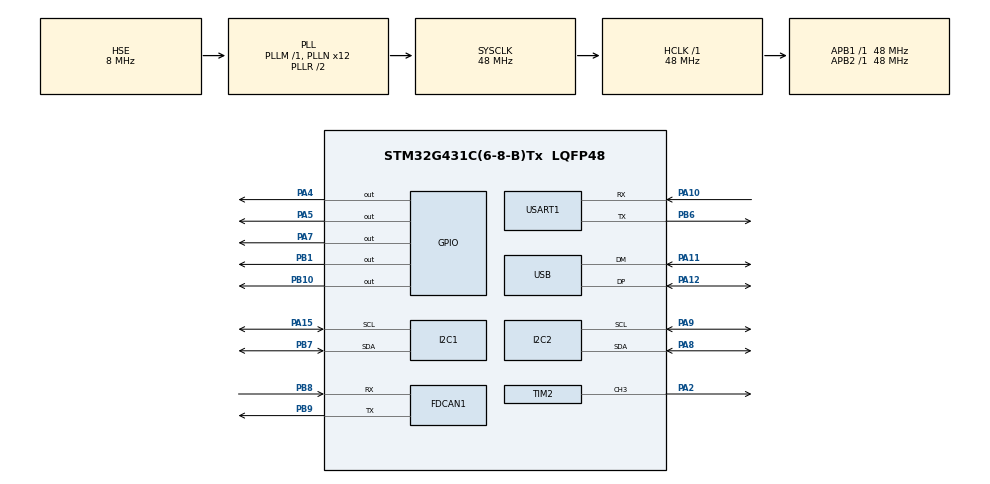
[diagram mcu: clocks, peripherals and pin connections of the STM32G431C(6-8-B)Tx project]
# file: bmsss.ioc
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FDCAN1.CalculateBaudRateNominal=166666
FDCAN1.CalculateTimeBitNominal=6000
FDCAN1.CalculateTimeQuantumNominal=2000.0
I2C1.Timing=0x10805D88
I2C2.Timing=0x10805D88
Mcu.Family=STM32G4
Mcu.Name=STM32G431C(6-8-B)Tx
Mcu.Package=LQFP48
NVIC.PriorityGroup=NVIC_PRIORITYGROUP_4
PA10.Mode=Asynchronous
PA10.Signal=USART1_RX
PA11.Mode=Device
PA11.Signal=USB_DM
PA12.Mode=Device
PA12.Signal=USB_DP
PA13.Mode=Serial_Wire
PA13.Signal=SYS_JTMS-SWDIO
PA14.Mode=Serial_Wire
PA14.Signal=SYS_JTCK-SWCLK
PA15.Mode=I2C
PA15.Signal=I2C1_SCL
PA2.Signal=S_TIM2_CH3
PA4.Signal=GPIO_Output
PA5.Signal=GPIO_Output
PA7.Signal=GPIO_Output
PA8.Mode=I2C
PA8.Signal=I2C2_SDA
PA9.Mode=I2C
PA9.Signal=I2C2_SCL
PB1.Signal=GPIO_Output
PB10.Signal=GPIO_Output
PB6.Mode=Asynchronous
PB6.Signal=USART1_TX
PB7.Mode=I2C
PB7.Signal=I2C1_SDA
PB8-BOOT0.Mode=FDCAN_Activate
PB8-BOOT0.Signal=FDCAN1_RX
PB9.Mode=FDCAN_Activate
PB9.Signal=FDCAN1_TX
PF0-OSC_IN.Mode=HSE-External-Oscillator
PF0-OSC_IN.Signal=RCC_OSC_IN
PF1-OSC_OUT.Mode=HSE-External-Oscillator
PF1-OSC_OUT.Signal=RCC_OSC_OUT
ProjectManager.HeapSize=0x200
ProjectManager.StackSize=0x400
ProjectManager.TargetToolchain=STM32CubeIDE
RCC.ADC12Freq_Value=48000000
RCC.AHBFreq_Value=48000000
RCC.APB1Freq_Value=48000000
RCC.APB1TimFreq_Value=48000000
RCC.APB2Freq_Value=48000000
RCC.APB2TimFreq_Value=48000000
RCC.CortexFreq_Value=48000000
RCC.EXTERNAL_CLOCK_VALUE=12288000
RCC.FDCANCLockSelection=RCC_FDCANCLKSOURCE_HSE
RCC.HCLKFreq_Value=48000000
RCC.HSE_VALUE=8000000
RCC.HSI48_VALUE=48000000
RCC.HSI_VALUE=16000000
RCC.I2C1CLockSelection=RCC_I2C1CLKSOURCE_SYSCLK
RCC.I2C2CLockSelection=RCC_I2C2CLKSOURCE_SYSCLK
RCC.LSE_VALUE=32768
RCC.PLLN=12
RCC.PLLSourceVirtual=RCC_PLLSOURCE_HSE
RCC.SYSCLKFreq_VALUE=48000000
RCC.SYSCLKSource=RCC_SYSCLKSOURCE_PLLCLK
RCC.USBFreq_Value=48000000
RCC.VCOOutputFreq_Value=96000000
SH.S_TIM2_CH3.0=TIM2_CH3,PWM Generation3 CH3
TIM2.Channel-PWM\ Generation3\ CH3=TIM_CHANNEL_3
USART1.VirtualMode-Asynchronous=VM_ASYNC
VP_SYS_VS_DBSignals.Mode=DisableDeadBatterySignals
VP_TIM2_VS_ClockSourceINT.Mode=Internal
board=custom

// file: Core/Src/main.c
/* USER CODE BEGIN Header */
/**
  ******************************************************************************
  * @file           : main.c
  * @brief          : Main program body
  ******************************************************************************
  * @attention
  *
  * Copyright (c) 2026 STMicroelectronics.
  * All rights reserved.
  *
  * This software is licensed under terms that can be found in the LICENSE file
  * in the root directory of this software component.
  * If no LICENSE file comes with this software, it is provided AS-IS.
  *
  ******************************************************************************
  */
/* USER CODE END Header */
#include "main.h"

/* USER CODE BEGIN Includes */
#include <stdio.h>
#include <stdbool.h>
#include <string.h>
/* USER CODE END Includes */

/* USER CODE BEGIN PD */

// BQ76952 I2C Adresi (Varsayılan 0x10, STM32 için sola kaydırılır -> 0x20)
#define BQ_I2C_ADDR  0x20

// BQ76952 Direct Command (Doğrudan Okuma) Adresleri
#define BQ_VCELL1    0x14  // Hücre 1 Başlangıç
#define BQ_CURRENT   0x3A  // CC2 Akım Değeri
#define BQ_TEMP_TS1  0x70  // NTC 1
#define BQ_TEMP_TS2  0x72  // NTC 2
#define BQ_TEMP_TS3  0x74  // NTC 3

// Güç / SOC Sabitleri
#define MAX_POWER   1108.8f
#define MIN_POWER    712.8f
#define FLASH_USER_START_ADDR   0x0801F800

/* USER CODE END PD */

FDCAN_HandleTypeDef hfdcan1;

I2C_HandleTypeDef hi2c1;
I2C_HandleTypeDef hi2c2;

TIM_HandleTypeDef htim2;

UART_HandleTypeDef huart1;

PCD_HandleTypeDef hpcd_USB_FS;

/* USER CODE BEGIN PV */

uint32_t counter;
const uint32_t ARALIK  = 99;
const uint32_t KARALIK = 30;

uint8_t percent = 0, percentholder = 0, bmshata = 0;
uint8_t AKSdata[2] = {0xFF, 0x00};

float temp1, temp2, temp3, akim = 0.0f, cellV[17] = {0}, batvolt = 0.0f;
float maxtemp = 0.0f, power = 0.0f, batlevel = 0.0f, minCV = 5.0f, maxCV = 0.0f;
float akimT = 0.0f, tempT = 0.0f, secwh = 0.0f;
float powerholder = 0.0f;

bool charging = false, ms500 = false, chold = false;
bool UVerror = false, OVerror = false, startup = true;
bool problem = false, danger = false, currerror = false, temperror = false;

int bal = 0, c = 0, k = 0, dc = 0, m = 0, f = 0, q = 0, msx = 0, dead = 0, probz = 0, mss = 0;
uint16_t CANakim = 0, CANtemp = 0, CANvolt = 0, CANminCV = 0, CANmaxCV = 0;

extern FDCAN_HandleTypeDef hfdcan1;
extern I2C_HandleTypeDef hi2c1;
extern TIM_HandleTypeDef htim2;
extern UART_HandleTypeDef huart1;

/* USER CODE END PV */

void SystemClock_Config(void);
static void MX_GPIO_Init(void);
static void MX_FDCAN1_Init(void);
static void MX_USB_PCD_Init(void);
static void MX_I2C1_Init(void);
static void MX_I2C2_Init(void);
static void MX_TIM2_Init(void);
static void MX_USART1_UART_Init(void);
/* USER CODE BEGIN PFP */

void AnalogWrite_Fan(uint8_t duty);
void Save_Power_To_Flash(float power_val);
float Read_Power_From_Flash(void);

void readV(void);
void readC(void);
void readtemp(void);
void calcminmax(void);
void calctotalV(void);
void calcpower(void);
void tempcontrol(void);
void checkprob(void);
void chargecheck(void);
void CANparse(void);
void CANvoltsend(void);
void CANdatasend(void);
void CANdatatake(void);

/* USER CODE END PFP */

/* USER CODE BEGIN 0 */

int _write(int file, char *ptr, int len) {
    HAL_UART_Transmit(&huart1, (uint8_t*)ptr, len, HAL_MAX_DELAY);
    return len;
}

void AnalogWrite_Fan(uint8_t duty) {
    if (duty > 100) HAL_GPIO_WritePin(GPIOB, GPIO_PIN_10, GPIO_PIN_SET);
    else            HAL_GPIO_WritePin(GPIOB, GPIO_PIN_10, GPIO_PIN_RESET);
}

void Save_Power_To_Flash(float power_val) {
    HAL_FLASH_Unlock();
    FLASH_EraseInitTypeDef EraseInitStruct;
    uint32_t PageError;
    EraseInitStruct.TypeErase   = FLASH_TYPEERASE_PAGES;
    EraseInitStruct.Banks       = FLASH_BANK_1;
    EraseInitStruct.Page        = 63;
    EraseInitStruct.NbPages     = 1;

    if (HAL_FLASHEx_Erase(&EraseInitStruct, &PageError) == HAL_OK) {
        uint64_t data_to_write = 0;
        memcpy(&data_to_write, &power_val, sizeof(float));
        HAL_FLASH_Program(FLASH_TYPEPROGRAM_DOUBLEWORD, FLASH_USER_START_ADDR, data_to_write);
    }
    HAL_FLASH_Lock();
}

float Read_Power_From_Flash(void) {
    float read_val = 0.0f;
    uint32_t flash_word = *(__IO uint32_t*)FLASH_USER_START_ADDR;
    if (flash_word != 0xFFFFFFFF) memcpy(&read_val, &flash_word, sizeof(float));
    return read_val;
}

/* USER CODE END 0 */

int main(void)
{

  /* MCU Configuration--------------------------------------------------------*/

  /* Reset of all peripherals, Initializes the Flash interface and the Systick. */
  HAL_Init();

  /* Configure the system clock */
  SystemClock_Config();

  /* Initialize all configured peripherals */
  MX_GPIO_Init();
  MX_FDCAN1_Init();
  MX_USB_PCD_Init();
  MX_I2C1_Init();
  MX_I2C2_Init();
  MX_TIM2_Init();
  MX_USART1_UART_Init();
  /* USER CODE BEGIN 2 */

  // Kontaktör Başlangıç Durumları
      HAL_GPIO_WritePin(GPIOB, GPIO_PIN_2, GPIO_PIN_SET); // PB2 Şarj
      HAL_GPIO_WritePin(GPIOB, GPIO_PIN_1, GPIO_PIN_SET); // PB1 Deşarj

      printf("-------------------- PEHLIVAN TEAM --------------------\r\n");
      printf("-------- BQ76952 Batarya Yonetim Sistemi Aktif --------\r\n");

      powerholder = Read_Power_From_Flash();
      if ((powerholder < MAX_POWER) && (powerholder > MIN_POWER)) {
          batlevel = powerholder;
      } else {
          batlevel = 1008.1f;
      }

      // FDCAN BAŞLATMA
      FDCAN_FilterTypeDef sFilterConfig;
      sFilterConfig.IdType = FDCAN_STANDARD_ID;
      sFilterConfig.FilterIndex = 0;
      sFilterConfig.FilterType = FDCAN_FILTER_MASK;
      sFilterConfig.FilterConfig = FDCAN_FILTER_TO_RXFIFO0;
      sFilterConfig.FilterID1 = 0x000;
      sFilterConfig.FilterID2 = 0x000;
      HAL_FDCAN_ConfigFilter(&hfdcan1, &sFilterConfig);
      HAL_FDCAN_Start(&hfdcan1);

      counter = HAL_GetTick();

  /* USER CODE END 2 */

  /* Infinite loop */
  /* USER CODE BEGIN WHILE */
      while (1)
            {
                uint32_t currentMillis = HAL_GetTick();
                if (currentMillis - counter >= ARALIK) {
                    c++;
                    if (c > 4) { c = 0; ms500 = true; }
                }

                if (c - k > 0) {
                    readtemp(); readC(); checkprob(); tempcontrol();
                    CANvoltsend(); CANdatasend();
                    k = c; counter = HAL_GetTick();
                }

                if (ms500) {
                    chargecheck();
                    readV();
                    counter = counter - KARALIK;
                    calcminmax(); calctotalV(); readtemp(); readC();
                    checkprob(); tempcontrol(); calcpower();

                    akimT += akim; tempT += maxtemp;
                    ms500 = false; k = 0; dc++; counter = HAL_GetTick();
                }

                if (dc >= 2) {
                    CANparse(); CANdatasend();
                    dc = 0; akimT = 0.0f; tempT = 0.0f;
                    if (AKSdata[0] == 0xF0) { bal++; chold = charging; }
                }

                CANdatatake();
                checkprob();
    /* USER CODE END WHILE */

  }
}

void SystemClock_Config(void)
{
  RCC_OscInitTypeDef RCC_OscInitStruct = {0};
  RCC_ClkInitTypeDef RCC_ClkInitStruct = {0};

  /** Configure the main internal regulator output voltage
  */
  HAL_PWREx_ControlVoltageScaling(PWR_REGULATOR_VOLTAGE_SCALE1);

  /** Initializes the RCC Oscillators according to the specified parameters
  * in the RCC_OscInitTypeDef structure.
  */
  RCC_OscInitStruct.OscillatorType = RCC_OSCILLATORTYPE_HSE;
  RCC_OscInitStruct.HSEState = RCC_HSE_ON;
  RCC_OscInitStruct.PLL.PLLState = RCC_PLL_ON;
  RCC_OscInitStruct.PLL.PLLSource = RCC_PLLSOURCE_HSE;
  RCC_OscInitStruct.PLL.PLLM = RCC_PLLM_DIV1;
  RCC_OscInitStruct.PLL.PLLN = 12;
  RCC_OscInitStruct.PLL.PLLP = RCC_PLLP_DIV2;
  RCC_OscInitStruct.PLL.PLLQ = RCC_PLLQ_DIV2;
  RCC_OscInitStruct.PLL.PLLR = RCC_PLLR_DIV2;
  if (HAL_RCC_OscConfig(&RCC_OscInitStruct) != HAL_OK)
  {
    Error_Handler();
  }

  /** Initializes the CPU, AHB and APB buses clocks
  */
  RCC_ClkInitStruct.ClockType = RCC_CLOCKTYPE_HCLK|RCC_CLOCKTYPE_SYSCLK
                              |RCC_CLOCKTYPE_PCLK1|RCC_CLOCKTYPE_PCLK2;
  RCC_ClkInitStruct.SYSCLKSource = RCC_SYSCLKSOURCE_PLLCLK;
  RCC_ClkInitStruct.AHBCLKDivider = RCC_SYSCLK_DIV1;
  RCC_ClkInitStruct.APB1CLKDivider = RCC_HCLK_DIV1;
  RCC_ClkInitStruct.APB2CLKDivider = RCC_HCLK_DIV1;

  if (HAL_RCC_ClockConfig(&RCC_ClkInitStruct, FLASH_LATENCY_1) != HAL_OK)
  {
    Error_Handler();
  }
}

static void MX_FDCAN1_Init(void)
{

  hfdcan1.Instance = FDCAN1;
  hfdcan1.Init.ClockDivider = FDCAN_CLOCK_DIV1;
  hfdcan1.Init.FrameFormat = FDCAN_FRAME_CLASSIC;
  hfdcan1.Init.Mode = FDCAN_MODE_NORMAL;
  hfdcan1.Init.AutoRetransmission = DISABLE;
  hfdcan1.Init.TransmitPause = DISABLE;
  hfdcan1.Init.ProtocolException = DISABLE;
  hfdcan1.Init.NominalPrescaler = 16;
  hfdcan1.Init.NominalSyncJumpWidth = 1;
  hfdcan1.Init.NominalTimeSeg1 = 1;
  hfdcan1.Init.NominalTimeSeg2 = 1;
  hfdcan1.Init.DataPrescaler = 1;
  hfdcan1.Init.DataSyncJumpWidth = 1;
  hfdcan1.Init.DataTimeSeg1 = 1;
  hfdcan1.Init.DataTimeSeg2 = 1;
  hfdcan1.Init.StdFiltersNbr = 0;
  hfdcan1.Init.ExtFiltersNbr = 0;
  hfdcan1.Init.TxFifoQueueMode = FDCAN_TX_FIFO_OPERATION;
  if (HAL_FDCAN_Init(&hfdcan1) != HAL_OK)
  {
    Error_Handler();
  }

}

static void MX_I2C1_Init(void)
{

  hi2c1.Instance = I2C1;
  hi2c1.Init.Timing = 0x10805D88;
  hi2c1.Init.OwnAddress1 = 0;
  hi2c1.Init.AddressingMode = I2C_ADDRESSINGMODE_7BIT;
  hi2c1.Init.DualAddressMode = I2C_DUALADDRESS_DISABLE;
  hi2c1.Init.OwnAddress2 = 0;
  hi2c1.Init.OwnAddress2Masks = I2C_OA2_NOMASK;
  hi2c1.Init.GeneralCallMode = I2C_GENERALCALL_DISABLE;
  hi2c1.Init.NoStretchMode = I2C_NOSTRETCH_DISABLE;
  if (HAL_I2C_Init(&hi2c1) != HAL_OK)
  {
    Error_Handler();
  }

  /** Configure Analogue filter
  */
  if (HAL_I2CEx_ConfigAnalogFilter(&hi2c1, I2C_ANALOGFILTER_ENABLE) != HAL_OK)
  {
    Error_Handler();
  }

  /** Configure Digital filter
  */
  if (HAL_I2CEx_ConfigDigitalFilter(&hi2c1, 0) != HAL_OK)
  {
    Error_Handler();
  }

}

static void MX_I2C2_Init(void)
{

  hi2c2.Instance = I2C2;
  hi2c2.Init.Timing = 0x10805D88;
  hi2c2.Init.OwnAddress1 = 0;
  hi2c2.Init.AddressingMode = I2C_ADDRESSINGMODE_7BIT;
  hi2c2.Init.DualAddressMode = I2C_DUALADDRESS_DISABLE;
  hi2c2.Init.OwnAddress2 = 0;
  hi2c2.Init.OwnAddress2Masks = I2C_OA2_NOMASK;
  hi2c2.Init.GeneralCallMode = I2C_GENERALCALL_DISABLE;
  hi2c2.Init.NoStretchMode = I2C_NOSTRETCH_DISABLE;
  if (HAL_I2C_Init(&hi2c2) != HAL_OK)
  {
    Error_Handler();
  }

  /** Configure Analogue filter
  */
  if (HAL_I2CEx_ConfigAnalogFilter(&hi2c2, I2C_ANALOGFILTER_ENABLE) != HAL_OK)
  {
    Error_Handler();
  }

  /** Configure Digital filter
  */
  if (HAL_I2CEx_ConfigDigitalFilter(&hi2c2, 0) != HAL_OK)
  {
    Error_Handler();
  }

}

static void MX_TIM2_Init(void)
{

  TIM_ClockConfigTypeDef sClockSourceConfig = {0};
  TIM_MasterConfigTypeDef sMasterConfig = {0};
  TIM_OC_InitTypeDef sConfigOC = {0};

  htim2.Instance = TIM2;
  htim2.Init.Prescaler = 0;
  htim2.Init.CounterMode = TIM_COUNTERMODE_UP;
  htim2.Init.Period = 4294967295;
  htim2.Init.ClockDivision = TIM_CLOCKDIVISION_DIV1;
  htim2.Init.AutoReloadPreload = TIM_AUTORELOAD_PRELOAD_DISABLE;
  if (HAL_TIM_Base_Init(&htim2) != HAL_OK)
  {
    Error_Handler();
  }
  sClockSourceConfig.ClockSource = TIM_CLOCKSOURCE_INTERNAL;
  if (HAL_TIM_ConfigClockSource(&htim2, &sClockSourceConfig) != HAL_OK)
  {
    Error_Handler();
  }
  if (HAL_TIM_PWM_Init(&htim2) != HAL_OK)
  {
    Error_Handler();
  }
  sMasterConfig.MasterOutputTrigger = TIM_TRGO_RESET;
  sMasterConfig.MasterSlaveMode = TIM_MASTERSLAVEMODE_DISABLE;
  if (HAL_TIMEx_MasterConfigSynchronization(&htim2, &sMasterConfig) != HAL_OK)
  {
    Error_Handler();
  }
  sConfigOC.OCMode = TIM_OCMODE_PWM1;
  sConfigOC.Pulse = 0;
  sConfigOC.OCPolarity = TIM_OCPOLARITY_HIGH;
  sConfigOC.OCFastMode = TIM_OCFAST_DISABLE;
  if (HAL_TIM_PWM_ConfigChannel(&htim2, &sConfigOC, TIM_CHANNEL_3) != HAL_OK)
  {
    Error_Handler();
  }
  HAL_TIM_MspPostInit(&htim2);

}

static void MX_USART1_UART_Init(void)
{

  huart1.Instance = USART1;
  huart1.Init.BaudRate = 115200;
  huart1.Init.WordLength = UART_WORDLENGTH_8B;
  huart1.Init.StopBits = UART_STOPBITS_1;
  huart1.Init.Parity = UART_PARITY_NONE;
  huart1.Init.Mode = UART_MODE_TX_RX;
  huart1.Init.HwFlowCtl = UART_HWCONTROL_NONE;
  huart1.Init.OverSampling = UART_OVERSAMPLING_16;
  huart1.Init.OneBitSampling = UART_ONE_BIT_SAMPLE_DISABLE;
  huart1.Init.ClockPrescaler = UART_PRESCALER_DIV1;
  huart1.AdvancedInit.AdvFeatureInit = UART_ADVFEATURE_NO_INIT;
  if (HAL_UART_Init(&huart1) != HAL_OK)
  {
    Error_Handler();
  }
  if (HAL_UARTEx_SetTxFifoThreshold(&huart1, UART_TXFIFO_THRESHOLD_1_8) != HAL_OK)
  {
    Error_Handler();
  }
  if (HAL_UARTEx_SetRxFifoThreshold(&huart1, UART_RXFIFO_THRESHOLD_1_8) != HAL_OK)
  {
    Error_Handler();
  }
  if (HAL_UARTEx_DisableFifoMode(&huart1) != HAL_OK)
  {
    Error_Handler();
  }

}

static void MX_USB_PCD_Init(void)
{

  hpcd_USB_FS.Instance = USB;
  hpcd_USB_FS.Init.dev_endpoints = 8;
  hpcd_USB_FS.Init.speed = PCD_SPEED_FULL;
  hpcd_USB_FS.Init.phy_itface = PCD_PHY_EMBEDDED;
  hpcd_USB_FS.Init.Sof_enable = DISABLE;
  hpcd_USB_FS.Init.low_power_enable = DISABLE;
  hpcd_USB_FS.Init.lpm_enable = DISABLE;
  hpcd_USB_FS.Init.battery_charging_enable = DISABLE;
  if (HAL_PCD_Init(&hpcd_USB_FS) != HAL_OK)
  {
    Error_Handler();
  }

}

static void MX_GPIO_Init(void)
{
  GPIO_InitTypeDef GPIO_InitStruct = {0};

  /* GPIO Ports Clock Enable */
  __HAL_RCC_GPIOF_CLK_ENABLE();
  __HAL_RCC_GPIOA_CLK_ENABLE();
  __HAL_RCC_GPIOB_CLK_ENABLE();

  /*Configure GPIO pin Output Level */
  HAL_GPIO_WritePin(GPIOA, GPIO_PIN_4|GPIO_PIN_5|GPIO_PIN_7, GPIO_PIN_RESET);

  /*Configure GPIO pin Output Level */
  HAL_GPIO_WritePin(GPIOB, GPIO_PIN_1|GPIO_PIN_10, GPIO_PIN_RESET);

  /*Configure GPIO pins : PA4 PA5 PA7 */
  GPIO_InitStruct.Pin = GPIO_PIN_4|GPIO_PIN_5|GPIO_PIN_7;
  GPIO_InitStruct.Mode = GPIO_MODE_OUTPUT_PP;
  GPIO_InitStruct.Pull = GPIO_NOPULL;
  GPIO_InitStruct.Speed = GPIO_SPEED_FREQ_LOW;
  HAL_GPIO_Init(GPIOA, &GPIO_InitStruct);

  /*Configure GPIO pins : PB1 PB10 */
  GPIO_InitStruct.Pin = GPIO_PIN_1|GPIO_PIN_10;
  GPIO_InitStruct.Mode = GPIO_MODE_OUTPUT_PP;
  GPIO_InitStruct.Pull = GPIO_NOPULL;
  GPIO_InitStruct.Speed = GPIO_SPEED_FREQ_LOW;
  HAL_GPIO_Init(GPIOB, &GPIO_InitStruct);

}

/* USER CODE BEGIN 4 */

void readV(void) {
    uint8_t rxBuf[32]; // 16 Hücre x 2 Byte = 32 Byte Veri
    // BQ76952, hücre voltajlarını 0x14'ten 0x33'e kadar hazır tutar (mV cinsinden)
    if (HAL_I2C_Mem_Read(&hi2c1, BQ_I2C_ADDR, BQ_VCELL1, I2C_MEMADD_SIZE_8BIT, rxBuf, 32, 100) == HAL_OK) {
        for(int i = 0; i < 16; i++) {
            uint16_t rawV = rxBuf[i*2] | (rxBuf[(i*2)+1] << 8); // Little-Endian formatını birleştir
            cellV[i+1] = rawV / 1000.0f; // mV değerini Volt'a çevir
        }
    }
}

void readC(void) {
    uint8_t rxBuf[2];
    // BQ76952'nin CC2 (veya yapılandırmaya göre Akım) okuma adresi
    if (HAL_I2C_Mem_Read(&hi2c1, BQ_I2C_ADDR, BQ_CURRENT, I2C_MEMADD_SIZE_8BIT, rxBuf, 2, 100) == HAL_OK) {
        int16_t rawC = rxBuf[0] | (rxBuf[1] << 8);
        // CC Gain ayarlarına göre bu değeri Amper'e bölmeniz gerekebilir
        // Şimdilik standart mV/mA formunda okuyup mutlak değere alıyoruz
        akim = rawC / 1000.0f;
        if(akim < 0.0f) akim = -akim;
    }

    // Akım Hata Kontrolü
    bmshata &= ~(1 << 0);
    if (akim > 20.0f) { bmshata |= (1 << 2); } else { bmshata &= ~(1 << 2); }
    if (akim > 24.0f) { if (++m > 20) { currerror = true; bmshata |= (1 << 4); } else { currerror = false; bmshata &= ~(1 << 4); } } else { m = 0; }
}

void readtemp(void) {
    uint8_t rxBuf[2];
    float t1 = 0, t2 = 0, t3 = 0;

    // BQ76952 Sıcaklıkları 0.1 Kelvin cinsinden verir. (°C = Kelvin - 273.15)
    if (HAL_I2C_Mem_Read(&hi2c1, BQ_I2C_ADDR, BQ_TEMP_TS1, I2C_MEMADD_SIZE_8BIT, rxBuf, 2, 100) == HAL_OK) {
        t1 = ((rxBuf[0] | (rxBuf[1] << 8)) / 10.0f) - 273.15f;
    }
    if (HAL_I2C_Mem_Read(&hi2c1, BQ_I2C_ADDR, BQ_TEMP_TS2, I2C_MEMADD_SIZE_8BIT, rxBuf, 2, 100) == HAL_OK) {
        t2 = ((rxBuf[0] | (rxBuf[1] << 8)) / 10.0f) - 273.15f;
    }
    if (HAL_I2C_Mem_Read(&hi2c1, BQ_I2C_ADDR, BQ_TEMP_TS3, I2C_MEMADD_SIZE_8BIT, rxBuf, 2, 100) == HAL_OK) {
        t3 = ((rxBuf[0] | (rxBuf[1] << 8)) / 10.0f) - 273.15f;
    }

    maxtemp = t1;
    if (t2 > maxtemp) maxtemp = t2;
    if (t3 > maxtemp) maxtemp = t3;
}
// ════════════════════════════════════════════════════════════════

void calcminmax(void) {
    maxCV = 0.0f; minCV = 5.0f;
    for (int i = 1; i < 17; i++) {
        if (cellV[i] > maxCV) { maxCV = cellV[i]; }
        if (cellV[i] < minCV) { minCV = cellV[i]; }
    }
    if (minCV < 2.73f) { if (++f > 5) { UVerror = true; bmshata |= (1 << 7); } else { UVerror = false; bmshata &= ~(1 << 7); } } else { f = 0; UVerror = false; bmshata &= ~(1 << 7); }
    if (maxCV > 4.19f) { if (++q > 5) { OVerror = true; bmshata |= (1 << 5); } else { OVerror = false; bmshata &= ~(1 << 5); } } else { q = 0; OVerror = false; bmshata &= ~(1 << 5); }
}

void calctotalV(void) { batvolt = 0.0f; for (int i = 1; i < 17; i++) batvolt += cellV[i]; }

void tempcontrol(void) {
    if (!charging) {
        if (maxtemp > 40.0f && maxtemp < 50.0f) { AnalogWrite_Fan(255); bmshata &= ~(1 << 3); bmshata &= ~(1 << 6); dead = 0; }
        else if (maxtemp >= 50.0f && maxtemp <= 65.0f) { mss = 0; CANdatasend(); AnalogWrite_Fan(255); bmshata |= (1 << 3); bmshata &= ~(1 << 6); dead = 0; probz = 0; }
        else if (maxtemp < 38.0f) { AnalogWrite_Fan(0); bmshata &= ~(1 << 3); bmshata &= ~(1 << 6); dead = 0; probz = 0; }
        else if (maxtemp > 65.0f) { AnalogWrite_Fan(255); temperror = true; bmshata |= (1 << 3); bmshata |= (1 << 6); dead = 0; }
        if (maxtemp > 75.0f) { temperror = true; bmshata |= (1 << 3); bmshata |= (1 << 6); dead++; }
        if (dead > 4) danger = true;
        if (probz > 2) problem = true;
    } else {
        AnalogWrite_Fan(255);
        if (maxtemp > 45.0f) { problem = true; }
    }
}

void calcpower(void) {
    power = akim * batvolt; secwh = power / 3600.0f; batlevel = 16.5f * batvolt;
    percentholder = percent; percent = (uint8_t)(((batlevel - MIN_POWER) / (MAX_POWER - MIN_POWER)) * 100.0f);
    if (percentholder != percent) { Save_Power_To_Flash(batlevel); bmshata &= ~(1 << 1); }
}

void checkprob(void) {
    problem = (UVerror || temperror);
    if (problem || danger) HAL_GPIO_WritePin(GPIOB, GPIO_PIN_1, GPIO_PIN_RESET);
    else HAL_GPIO_WritePin(GPIOB, GPIO_PIN_1, GPIO_PIN_SET);
}

void chargecheck(void) {
    charging = (HAL_GPIO_ReadPin(GPIOB, GPIO_PIN_11) == GPIO_PIN_SET);
    if ((charging != chold || startup) && !problem) {
        startup = false;
        if (charging) {
            if (!OVerror) {
                HAL_GPIO_WritePin(GPIOB, GPIO_PIN_1, GPIO_PIN_RESET);
                HAL_Delay(500);
                HAL_GPIO_WritePin(GPIOB, GPIO_PIN_2, GPIO_PIN_SET);
                chold = true;
            }
        } else {
            HAL_Delay(500);
            HAL_GPIO_WritePin(GPIOB, GPIO_PIN_2, GPIO_PIN_RESET);
            HAL_GPIO_WritePin(GPIOB, GPIO_PIN_1, GPIO_PIN_SET);
            chold = false;
        }
    }
    if (OVerror) HAL_GPIO_WritePin(GPIOB, GPIO_PIN_2, GPIO_PIN_RESET);
}

void CANparse(void) { CANakim = (uint16_t)(akimT * 5.0f); CANtemp = (uint16_t)(tempT * 5.0f); CANvolt = (uint16_t)(batvolt * 100.0f); CANminCV = (uint16_t)(minCV * 100.0f); CANmaxCV = (uint16_t)(maxCV * 100.0f); }

void CANvoltsend(void) {
    uint8_t buf[8]; uint32_t id = 0; int base = 0;
    switch (msx) { case 0: id = 28; base = 1; break; case 1: id = 27; base = 5; break; case 2: id = 26; base = 9; break; case 3: id = 25; base = 13; break; }

    buf[0] = (uint8_t)(((int)(cellV[base] * 100.0f)) >> 8); buf[1] = (uint8_t)((int)(cellV[base] * 100.0f) & 0xFF);
    buf[2] = (uint8_t)(((int)(cellV[base+1] * 100.0f)) >> 8); buf[3] = (uint8_t)((int)(cellV[base+1] * 100.0f) & 0xFF);
    buf[4] = (uint8_t)(((int)(cellV[base+2] * 100.0f)) >> 8); buf[5] = (uint8_t)((int)(cellV[base+2] * 100.0f) & 0xFF);
    buf[6] = (uint8_t)(((int)(cellV[base+3] * 100.0f)) >> 8); buf[7] = (uint8_t)((int)(cellV[base+3] * 100.0f) & 0xFF);

    FDCAN_TxHeaderTypeDef TxHeader;
    TxHeader.Identifier = id;
    TxHeader.IdType = FDCAN_STANDARD_ID;
    TxHeader.TxFrameType = FDCAN_DATA_FRAME;
    TxHeader.DataLength = FDCAN_DLC_BYTES_8;
    TxHeader.ErrorStateIndicator = FDCAN_ESI_ACTIVE;
    TxHeader.BitRateSwitch = FDCAN_BRS_OFF;
    TxHeader.FDFormat = FDCAN_CLASSIC_CAN;
    TxHeader.TxEventFifoControl = FDCAN_NO_TX_EVENTS;
    TxHeader.MessageMarker = 0;

    HAL_FDCAN_AddMessageToTxFifoQ(&hfdcan1, &TxHeader, buf);
    msx = (msx + 1) % 4;
}

void CANdatasend(void) {
    if (charging) return;
    uint8_t buf[8];

    FDCAN_TxHeaderTypeDef TxHeader;
    TxHeader.IdType = FDCAN_STANDARD_ID;
    TxHeader.TxFrameType = FDCAN_DATA_FRAME;
    TxHeader.DataLength = FDCAN_DLC_BYTES_8;
    TxHeader.ErrorStateIndicator = FDCAN_ESI_ACTIVE;
    TxHeader.BitRateSwitch = FDCAN_BRS_OFF;
    TxHeader.FDFormat = FDCAN_CLASSIC_CAN;
    TxHeader.TxEventFifoControl = FDCAN_NO_TX_EVENTS;
    TxHeader.MessageMarker = 0;

    if (mss == 0) {
        buf[0] = (uint8_t)(CANmaxCV >> 8); buf[1] = (uint8_t)(CANmaxCV & 0xFF); buf[2] = (uint8_t)(CANtemp >> 8); buf[3] = (uint8_t)(CANtemp & 0xFF); buf[4] = percent; buf[5] = bmshata; buf[6] = 0x52; buf[7] = 0xAB;
        TxHeader.Identifier = 21;
        HAL_FDCAN_AddMessageToTxFifoQ(&hfdcan1, &TxHeader, buf);
        mss = 1;
    }
    else if (mss == 1) {
        buf[0] = (uint8_t)(CANakim >> 8); buf[1] = (uint8_t)(CANakim & 0xFF); buf[2] = (uint8_t)(CANvolt >> 8); buf[3] = (uint8_t)(CANvolt & 0xFF); buf[4] = (uint8_t)(CANminCV >> 8); buf[5] = (uint8_t)(CANminCV & 0xFF); buf[6] = 0x65; buf[7] = 0x22;
        TxHeader.Identifier = 20;
        HAL_FDCAN_AddMessageToTxFifoQ(&hfdcan1, &TxHeader, buf);
        mss = 2;
    }
    else { mss = 0; }
}

void CANdatatake(void) {
    if (bal > 5) AKSdata[0] = 0xFF;

    FDCAN_RxHeaderTypeDef RxHeader;
    uint8_t RxData[8];

    if (HAL_FDCAN_GetRxFifoFillLevel(&hfdcan1, FDCAN_RX_FIFO0) > 0) {
        HAL_FDCAN_GetRxMessage(&hfdcan1, FDCAN_RX_FIFO0, &RxHeader, RxData);
        if ((RxHeader.Identifier == 50) && (RxHeader.DataLength == FDCAN_DLC_BYTES_2)) {
            AKSdata[0] = RxData[0];
            AKSdata[1] = RxData[1];
            if (AKSdata[0] == 0xF0) {
                bal = 0;
            }
        }
    }
}

/* USER CODE END 4 */

void Error_Handler(void)
{
  __disable_irq();
  while (1)
  {
  }
}
